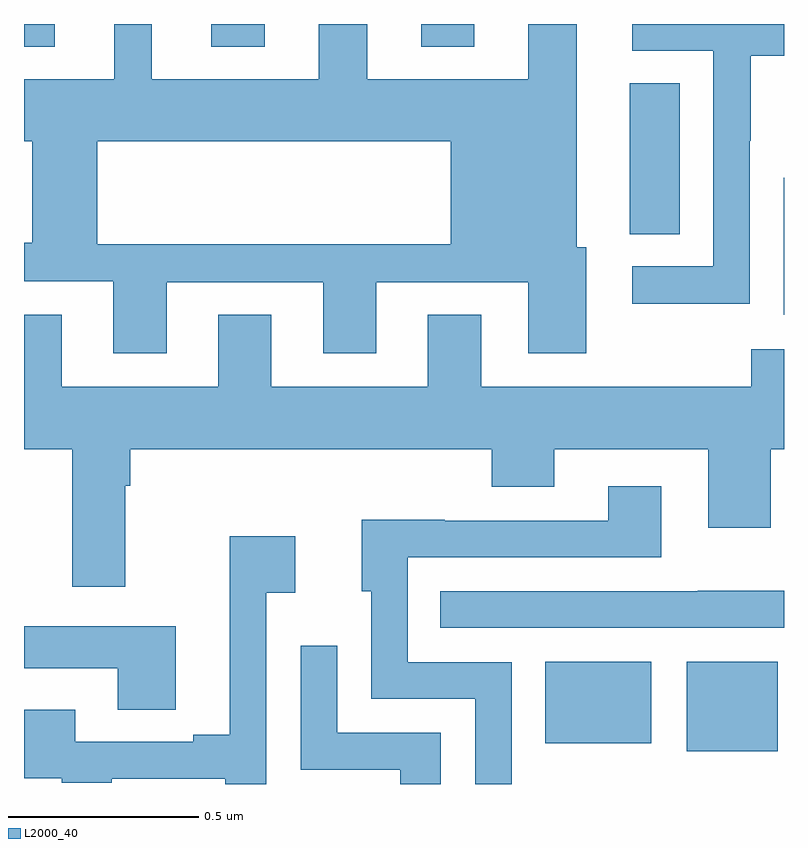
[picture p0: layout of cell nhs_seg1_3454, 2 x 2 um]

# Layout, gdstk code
import gdstk
lib = gdstk.Library(unit=1e-6, precision=1e-09)
def R(c, l, rs):  # rectangles x0, y0, x1, y1
    for r in rs: c.add(gdstk.rectangle(r[:2], r[2:], *l))
def P(c, l, *ps):  # polygons
    for p in ps: c.add(gdstk.Polygon(p, *l))
L2000_40 = (2000, 40)

nhs_seg1_3454 = lib.new_cell('nhs_seg1_3454')
R(nhs_seg1_3454, L2000_40, [(155.744,536.285,155.983,536.521), (155.372,536.306,155.65,536.521), (155.999,537.434,156,537.795), (155.594,537.646,155.725,538.043), (154,538.139,154.081,538.199), (154.493,538.139,154.633,538.199), (155.045,538.139,155.185,538.199)])
P(nhs_seg1_3454, L2000_40, [(155.91,537.892),(155.913,537.892),(155.913,538.116),(156,538.116),(156,538.199),(155.601,538.199),(155.601,538.128),(155.814,538.128),(155.814,537.561),(155.601,537.561),(155.601,537.463),(155.91,537.463)],
  [(154.235,537.522),(154.235,537.333),(154.375,537.333),(154.375,537.519),(154.787,537.519),(154.787,537.333),(154.927,537.333),(154.927,537.519),(155.327,537.519),(155.327,537.333),(155.479,537.333),(155.479,537.612),(155.455,537.612),(155.455,538.199),(155.327,538.199),(155.327,538.054),(154.903,538.054),(154.903,538.199),(154.775,538.199),(154.775,538.054),(154.336,538.054),(154.336,538.199),(154.238,538.199),(154.238,538.054),(154,538.054),(154,537.89),(154.022,537.89),(154.022,537.623),(154,537.623),(154,537.62),(154.193,537.62),(154.193,537.89),(155.123,537.89),(155.123,537.62),(154.193,537.62),(154,537.62),(154,537.522)],
  [(154.267,536.984),(154.28,536.984),(154.28,537.08),(155.231,537.08),(155.231,536.981),(155.395,536.981),(155.395,537.08),(155.801,537.08),(155.801,536.874),(155.965,536.874),(155.965,537.08),(156,537.08),(156,537.343),(155.914,537.343),(155.914,537.244),(155.203,537.244),(155.203,537.434),(155.063,537.434),(155.063,537.244),(154.651,537.244),(154.651,537.434),(154.511,537.434),(154.511,537.244),(154.099,537.244),(154.099,537.434),(154,537.434),(154,537.08),(154.127,537.08),(154.127,536.718),(154.267,536.718)],
  [(155.283,536.52),(155.01,536.52),(155.01,536.796),(155.677,536.796),(155.677,536.983),(155.537,536.983),(155.537,536.892),(155.107,536.892),(155.107,536.894),(154.889,536.894),(154.889,536.706),(154.914,536.706),(154.914,536.424),(155.187,536.424),(155.187,536.199),(155.283,536.199)],
  [(154.638,536.702),(154.714,536.702),(154.714,536.851),(154.541,536.851),(154.541,536.329),(154.445,536.329),(154.445,536.31),(154.135,536.31),(154.135,536.395),(154,536.395),(154,536.214),(154.099,536.214),(154.099,536.202),(154.231,536.202),(154.231,536.213),(154.53,536.213),(154.53,536.199),(154.638,536.199)],
  [(156,536.707),(155.773,536.707),(155.773,536.706),(155.095,536.706),(155.095,536.61),(156,536.61)],
  [(154.399,536.614),(154,536.614),(154,536.504),(154.247,536.504),(154.247,536.395),(154.399,536.395)],
  [(155.097,536.334),(154.824,536.334),(154.824,536.563),(154.728,536.563),(154.728,536.237),(154.99,536.237),(154.99,536.199),(155.097,536.199)])

lib.write_gds('nhs_seg1_3454.gds')
